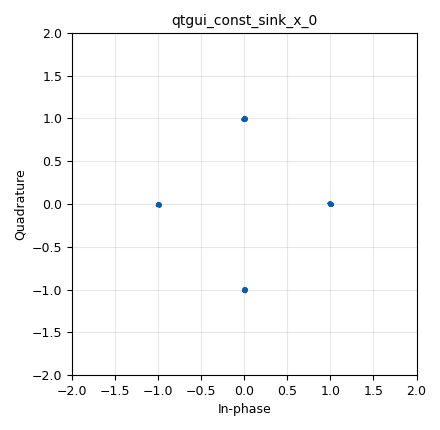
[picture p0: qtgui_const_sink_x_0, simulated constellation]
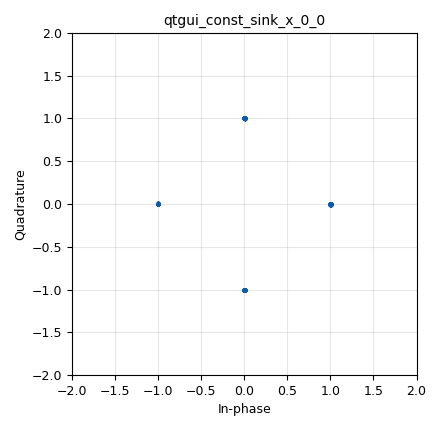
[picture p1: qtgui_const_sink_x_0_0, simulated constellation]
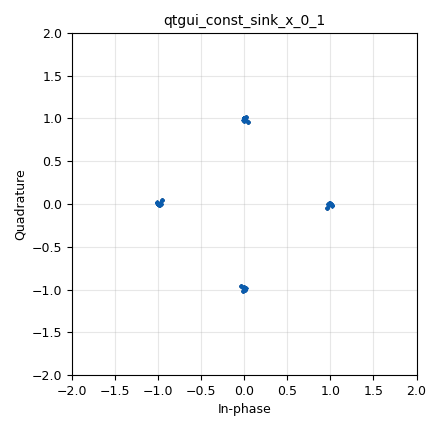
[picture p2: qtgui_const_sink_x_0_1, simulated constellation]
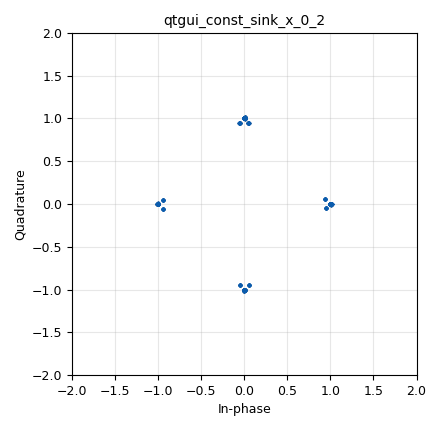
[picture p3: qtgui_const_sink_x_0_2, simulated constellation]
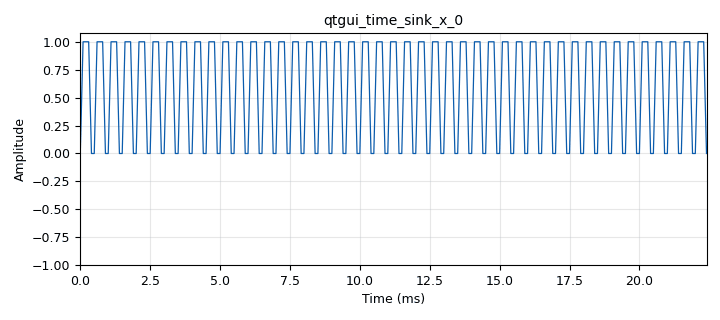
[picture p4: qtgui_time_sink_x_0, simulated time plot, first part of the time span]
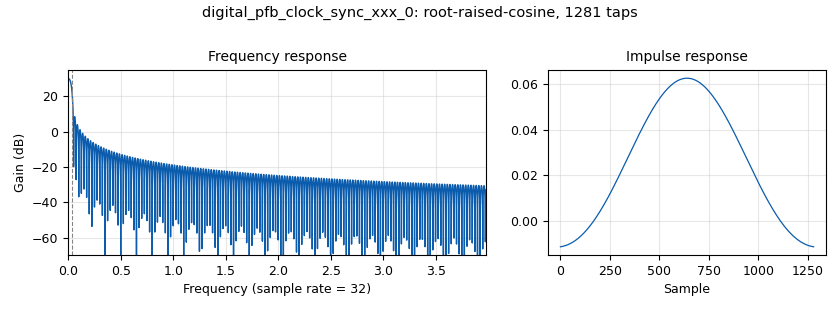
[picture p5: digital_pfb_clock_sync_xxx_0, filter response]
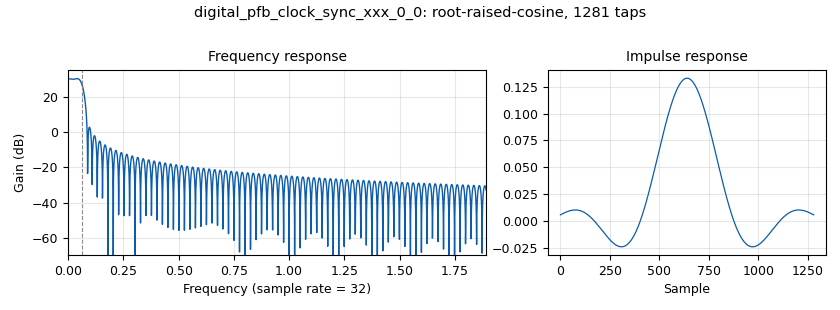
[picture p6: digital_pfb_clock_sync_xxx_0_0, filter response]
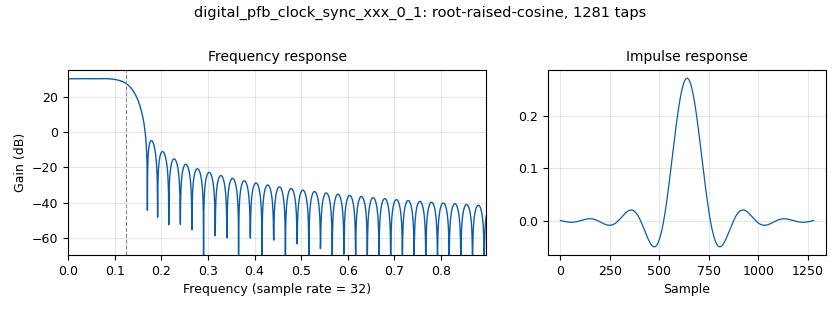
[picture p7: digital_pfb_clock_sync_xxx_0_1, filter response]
<?xml version='1.0' encoding='utf-8'?>
<?grc format='1' created='3.7.9'?>
<flow_graph>
<block>
<key>options</key>
<param><key>id</key><value>top_block</value></param>
<param><key>category</key><value>Custom</value></param>
<param><key>generate_options</key><value>qt_gui</value></param>
</block>
<block>
<key>variable</key>
<param><key>id</key><value>eb_16</value></param>
<param><key>value</key><value>0.3</value></param>
</block>
<block>
<key>variable</key>
<param><key>id</key><value>eb_2</value></param>
<param><key>value</key><value>0.3</value></param>
</block>
<block>
<key>variable</key>
<param><key>id</key><value>eb_4</value></param>
<param><key>value</key><value>0.3</value></param>
</block>
<block>
<key>variable</key>
<param><key>id</key><value>eb_8</value></param>
<param><key>value</key><value>0.3</value></param>
</block>
<block>
<key>variable</key>
<param><key>id</key><value>rrc_taps_16</value></param>
<param><key>value</key><value>firdes.root_raised_cosine(32, 32, 1.0/float(sps_16), eb_16, 40*32)</value></param>
</block>
<block>
<key>variable</key>
<param><key>id</key><value>rrc_taps_2</value></param>
<param><key>value</key><value>firdes.root_raised_cosine(32, 32, 1.0/float(sps_2), eb_2, 40*32)</value></param>
</block>
<block>
<key>variable</key>
<param><key>id</key><value>rrc_taps_4</value></param>
<param><key>value</key><value>firdes.root_raised_cosine(32, 32, 1.0/float(sps_4), eb_4, 40*32)</value></param>
</block>
<block>
<key>variable</key>
<param><key>id</key><value>rrc_taps_8</value></param>
<param><key>value</key><value>firdes.root_raised_cosine(32, 32, 1.0/float(sps_8), eb_8, 40*32)</value></param>
</block>
<block>
<key>variable</key>
<param><key>id</key><value>samp_rate</value></param>
<param><key>value</key><value>10000</value></param>
</block>
<block>
<key>variable</key>
<param><key>id</key><value>sps_16</value></param>
<param><key>value</key><value>16</value></param>
</block>
<block>
<key>variable</key>
<param><key>id</key><value>sps_2</value></param>
<param><key>value</key><value>2</value></param>
</block>
<block>
<key>variable</key>
<param><key>id</key><value>sps_4</value></param>
<param><key>value</key><value>4</value></param>
</block>
<block>
<key>variable</key>
<param><key>id</key><value>sps_8</value></param>
<param><key>value</key><value>8</value></param>
</block>
<block>
<key>analog_random_source_x</key>
<param><key>id</key><value>analog_random_source_x_0</value></param>
<param><key>max</key><value>2</value></param>
<param><key>min</key><value>0</value></param>
<param><key>num_samps</key><value>5</value></param>
<param><key>type</key><value>byte</value></param>
<param><key>repeat</key><value>True</value></param>
</block>
<block>
<key>blocks_throttle</key>
<param><key>id</key><value>blocks_throttle_0</value></param>
<param><key>samples_per_second</key><value>samp_rate</value></param>
<param><key>type</key><value>float</value></param>
</block>
<block>
<key>blocks_uchar_to_float</key>
<param><key>id</key><value>blocks_uchar_to_float_0</value></param>
</block>
<block>
<key>qtgui_tab_widget</key>
<param><key>id</key><value>controls</value></param>
<param><key>label0</key><value>Time Sink</value></param>
<param><key>label1</key><value>Const Sink - sps = 2</value></param>
<param><key>label2</key><value>Const Sink - sps = 4</value></param>
<param><key>label3</key><value>Const Sink - sps = 8</value></param>
<param><key>label4</key><value>Const Sink - sps = 16</value></param>
<param><key>num_tabs</key><value>5</value></param>
</block>
<block>
<key>digital_pfb_clock_sync_xxx</key>
<param><key>id</key><value>digital_pfb_clock_sync_xxx_0</value></param>
<param><key>filter_size</key><value>32</value></param>
<param><key>init_phase</key><value>16</value></param>
<param><key>loop_bw</key><value>6.28/100.0</value></param>
<param><key>max_dev</key><value>1.5</value></param>
<param><key>osps</key><value>1</value></param>
<param><key>sps</key><value>sps_16</value></param>
<param><key>taps</key><value>rrc_taps_16</value></param>
<param><key>type</key><value>ccf</value></param>
</block>
<block>
<key>digital_pfb_clock_sync_xxx</key>
<param><key>id</key><value>digital_pfb_clock_sync_xxx_0_0</value></param>
<param><key>filter_size</key><value>32</value></param>
<param><key>init_phase</key><value>16</value></param>
<param><key>loop_bw</key><value>6.28/100.0</value></param>
<param><key>max_dev</key><value>1.5</value></param>
<param><key>osps</key><value>1</value></param>
<param><key>sps</key><value>sps_8</value></param>
<param><key>taps</key><value>rrc_taps_8</value></param>
<param><key>type</key><value>ccf</value></param>
</block>
<block>
<key>digital_pfb_clock_sync_xxx</key>
<param><key>id</key><value>digital_pfb_clock_sync_xxx_0_1</value></param>
<param><key>filter_size</key><value>32</value></param>
<param><key>init_phase</key><value>16</value></param>
<param><key>loop_bw</key><value>6.28/100.0</value></param>
<param><key>max_dev</key><value>1.5</value></param>
<param><key>osps</key><value>1</value></param>
<param><key>sps</key><value>sps_4</value></param>
<param><key>taps</key><value>rrc_taps_4</value></param>
<param><key>type</key><value>ccf</value></param>
</block>
<block>
<key>digital_pfb_clock_sync_xxx</key>
<param><key>id</key><value>digital_pfb_clock_sync_xxx_0_2</value></param>
<param><key>filter_size</key><value>32</value></param>
<param><key>init_phase</key><value>16</value></param>
<param><key>loop_bw</key><value>6.28/100.0</value></param>
<param><key>max_dev</key><value>1.5</value></param>
<param><key>osps</key><value>1</value></param>
<param><key>sps</key><value>sps_2</value></param>
<param><key>taps</key><value>rrc_taps_2</value></param>
<param><key>type</key><value>ccf</value></param>
</block>
<block>
<key>digital_psk_mod</key>
<param><key>id</key><value>digital_psk_mod_0</value></param>
<param><key>differential</key><value>True</value></param>
<param><key>excess_bw</key><value>0.35</value></param>
<param><key>mod_code</key><value>"gray"</value></param>
<param><key>constellation_points</key><value>4</value></param>
<param><key>samples_per_symbol</key><value>2</value></param>
<param><key>verbose</key><value>True</value></param>
</block>
<block>
<key>digital_psk_mod</key>
<param><key>id</key><value>digital_psk_mod_0_0</value></param>
<param><key>differential</key><value>True</value></param>
<param><key>excess_bw</key><value>0.35</value></param>
<param><key>mod_code</key><value>"gray"</value></param>
<param><key>constellation_points</key><value>4</value></param>
<param><key>samples_per_symbol</key><value>16</value></param>
<param><key>verbose</key><value>True</value></param>
</block>
<block>
<key>digital_psk_mod</key>
<param><key>id</key><value>digital_psk_mod_0_1</value></param>
<param><key>differential</key><value>True</value></param>
<param><key>excess_bw</key><value>0.35</value></param>
<param><key>mod_code</key><value>"gray"</value></param>
<param><key>constellation_points</key><value>4</value></param>
<param><key>samples_per_symbol</key><value>8</value></param>
<param><key>verbose</key><value>True</value></param>
</block>
<block>
<key>digital_psk_mod</key>
<param><key>id</key><value>digital_psk_mod_0_2</value></param>
<param><key>differential</key><value>True</value></param>
<param><key>excess_bw</key><value>0.35</value></param>
<param><key>mod_code</key><value>"gray"</value></param>
<param><key>constellation_points</key><value>4</value></param>
<param><key>samples_per_symbol</key><value>4</value></param>
<param><key>verbose</key><value>True</value></param>
</block>
<block>
<key>qtgui_const_sink_x</key>
<param><key>id</key><value>qtgui_const_sink_x_0</value></param>
<param><key>gui_hint</key><value>controls@1: 0,0,1,1</value></param>
<param><key>size</key><value>1024</value></param>
<param><key>type</key><value>complex</value></param>
</block>
<block>
<key>qtgui_const_sink_x</key>
<param><key>id</key><value>qtgui_const_sink_x_0_0</value></param>
<param><key>gui_hint</key><value>controls@2: 0,0,1,1</value></param>
<param><key>size</key><value>1024</value></param>
<param><key>type</key><value>complex</value></param>
</block>
<block>
<key>qtgui_const_sink_x</key>
<param><key>id</key><value>qtgui_const_sink_x_0_1</value></param>
<param><key>gui_hint</key><value>controls@3: 0,0,1,1</value></param>
<param><key>size</key><value>1024</value></param>
<param><key>type</key><value>complex</value></param>
</block>
<block>
<key>qtgui_const_sink_x</key>
<param><key>id</key><value>qtgui_const_sink_x_0_2</value></param>
<param><key>gui_hint</key><value>controls@4: 0,0,1,1</value></param>
<param><key>size</key><value>1024</value></param>
<param><key>type</key><value>complex</value></param>
</block>
<block>
<key>qtgui_time_sink_x</key>
<param><key>id</key><value>qtgui_time_sink_x_0</value></param>
<param><key>ctrlpanel</key><value>True</value></param>
<param><key>gui_hint</key><value>controls@0: 0,0,1,1</value></param>
<param><key>color1</key><value>"blue"</value></param>
<param><key>label1</key><value></value></param>
<param><key>size</key><value>1024</value></param>
<param><key>srate</key><value>samp_rate</value></param>
<param><key>tr_level</key><value>0.5</value></param>
<param><key>tr_mode</key><value>qtgui.TRIG_MODE_AUTO</value></param>
<param><key>type</key><value>float</value></param>
</block>
<connection><source_block_id>analog_random_source_x_0</source_block_id><sink_block_id>blocks_uchar_to_float_0</sink_block_id><source_key>0</source_key><sink_key>0</sink_key></connection>
<connection><source_block_id>analog_random_source_x_0</source_block_id><sink_block_id>digital_psk_mod_0</sink_block_id><source_key>0</source_key><sink_key>0</sink_key></connection>
<connection><source_block_id>analog_random_source_x_0</source_block_id><sink_block_id>digital_psk_mod_0_0</sink_block_id><source_key>0</source_key><sink_key>0</sink_key></connection>
<connection><source_block_id>analog_random_source_x_0</source_block_id><sink_block_id>digital_psk_mod_0_1</sink_block_id><source_key>0</source_key><sink_key>0</sink_key></connection>
<connection><source_block_id>analog_random_source_x_0</source_block_id><sink_block_id>digital_psk_mod_0_2</sink_block_id><source_key>0</source_key><sink_key>0</sink_key></connection>
<connection><source_block_id>blocks_throttle_0</source_block_id><sink_block_id>qtgui_time_sink_x_0</sink_block_id><source_key>0</source_key><sink_key>0</sink_key></connection>
<connection><source_block_id>blocks_uchar_to_float_0</source_block_id><sink_block_id>blocks_throttle_0</sink_block_id><source_key>0</source_key><sink_key>0</sink_key></connection>
<connection><source_block_id>digital_pfb_clock_sync_xxx_0</source_block_id><sink_block_id>qtgui_const_sink_x_0_2</sink_block_id><source_key>0</source_key><sink_key>0</sink_key></connection>
<connection><source_block_id>digital_pfb_clock_sync_xxx_0_0</source_block_id><sink_block_id>qtgui_const_sink_x_0_1</sink_block_id><source_key>0</source_key><sink_key>0</sink_key></connection>
<connection><source_block_id>digital_pfb_clock_sync_xxx_0_1</source_block_id><sink_block_id>qtgui_const_sink_x_0_0</sink_block_id><source_key>0</source_key><sink_key>0</sink_key></connection>
<connection><source_block_id>digital_pfb_clock_sync_xxx_0_2</source_block_id><sink_block_id>qtgui_const_sink_x_0</sink_block_id><source_key>0</source_key><sink_key>0</sink_key></connection>
<connection><source_block_id>digital_psk_mod_0</source_block_id><sink_block_id>digital_pfb_clock_sync_xxx_0_2</sink_block_id><source_key>0</source_key><sink_key>0</sink_key></connection>
<connection><source_block_id>digital_psk_mod_0_0</source_block_id><sink_block_id>digital_pfb_clock_sync_xxx_0</sink_block_id><source_key>0</source_key><sink_key>0</sink_key></connection>
<connection><source_block_id>digital_psk_mod_0_1</source_block_id><sink_block_id>digital_pfb_clock_sync_xxx_0_0</sink_block_id><source_key>0</source_key><sink_key>0</sink_key></connection>
<connection><source_block_id>digital_psk_mod_0_2</source_block_id><sink_block_id>digital_pfb_clock_sync_xxx_0_1</sink_block_id><source_key>0</source_key><sink_key>0</sink_key></connection>
</flow_graph>
